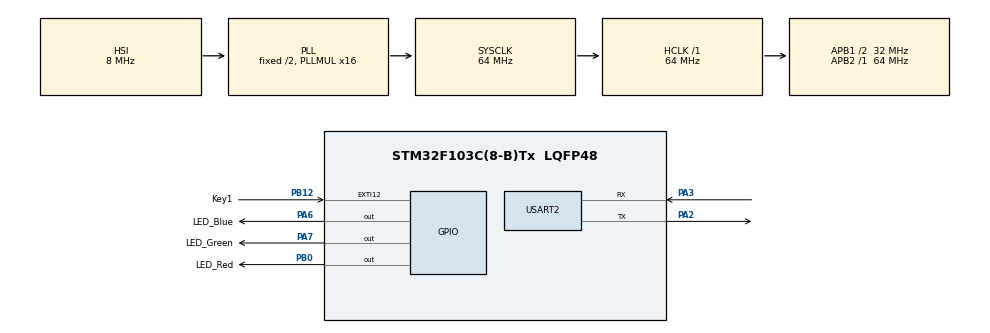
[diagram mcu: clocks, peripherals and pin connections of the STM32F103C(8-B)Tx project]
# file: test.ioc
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Dma.Request0=USART2_TX
Dma.Request1=USART2_RX
Dma.USART2_RX.1.Direction=DMA_PERIPH_TO_MEMORY
Dma.USART2_RX.1.Instance=DMA1_Channel6
Dma.USART2_RX.1.MemDataAlignment=DMA_MDATAALIGN_BYTE
Dma.USART2_RX.1.MemInc=DMA_MINC_ENABLE
Dma.USART2_RX.1.Mode=DMA_NORMAL
Dma.USART2_RX.1.PeriphDataAlignment=DMA_PDATAALIGN_BYTE
Dma.USART2_RX.1.PeriphInc=DMA_PINC_DISABLE
Dma.USART2_RX.1.Priority=DMA_PRIORITY_LOW
Dma.USART2_TX.0.Direction=DMA_MEMORY_TO_PERIPH
Dma.USART2_TX.0.Instance=DMA1_Channel7
Dma.USART2_TX.0.MemDataAlignment=DMA_MDATAALIGN_BYTE
Dma.USART2_TX.0.MemInc=DMA_MINC_ENABLE
Dma.USART2_TX.0.Mode=DMA_NORMAL
Dma.USART2_TX.0.PeriphDataAlignment=DMA_PDATAALIGN_BYTE
Dma.USART2_TX.0.PeriphInc=DMA_PINC_DISABLE
Dma.USART2_TX.0.Priority=DMA_PRIORITY_LOW
Mcu.Family=STM32F1
Mcu.Name=STM32F103C(8-B)Tx
Mcu.Package=LQFP48
NVIC.DMA1_Channel6_IRQn=true\:0\:0\:false\:false\:true\:false\:true\:true
NVIC.DMA1_Channel7_IRQn=true\:0\:0\:false\:false\:true\:false\:true\:true
NVIC.EXTI15_10_IRQn=true\:0\:0\:true\:false\:true\:true\:true\:true
NVIC.PriorityGroup=NVIC_PRIORITYGROUP_4
NVIC.USART2_IRQn=true\:0\:0\:false\:false\:true\:true\:true\:true
PA13.Mode=Serial_Wire
PA13.Signal=SYS_JTMS-SWDIO
PA14.Mode=Serial_Wire
PA14.Signal=SYS_JTCK-SWCLK
PA2.Mode=Asynchronous
PA2.Signal=USART2_TX
PA3.Mode=Asynchronous
PA3.Signal=USART2_RX
PA6.GPIO_Label=LED_Blue
PA6.Signal=GPIO_Output
PA7.GPIO_Label=LED_Green
PA7.Signal=GPIO_Output
PB0.GPIO_Label=LED_Red
PB0.Signal=GPIO_Output
PB12.GPIO_Label=Key1
PB12.GPIO_ModeDefaultEXTI=GPIO_MODE_IT_FALLING
PB12.Signal=GPXTI12
ProjectManager.HeapSize=0x200
ProjectManager.StackSize=0x400
ProjectManager.TargetToolchain=MDK-ARM V5.32
RCC.AHBFreq_Value=64000000
RCC.APB1CLKDivider=RCC_HCLK_DIV2
RCC.APB1Freq_Value=32000000
RCC.APB1TimFreq_Value=64000000
RCC.APB2Freq_Value=64000000
RCC.APB2TimFreq_Value=64000000
RCC.HCLKFreq_Value=64000000
RCC.PLLMUL=RCC_PLL_MUL16
RCC.SYSCLKFreq_VALUE=64000000
RCC.SYSCLKSource=RCC_SYSCLKSOURCE_PLLCLK
RCC.USBFreq_Value=64000000
USART2.VirtualMode=VM_ASYNC
board=custom

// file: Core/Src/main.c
/* USER CODE BEGIN Header */
/**
  ******************************************************************************
  * @file           : main.c
  * @brief          : Main program body
  ******************************************************************************
  * @attention
  *
  * Copyright (c) 2026 STMicroelectronics.
  * All rights reserved.
  *
  * This software is licensed under terms that can be found in the LICENSE file
  * in the root directory of this software component.
  * If no LICENSE file comes with this software, it is provided AS-IS.
  *
  ******************************************************************************
  */
/* USER CODE END Header */
#include "main.h"
#include "dma.h"
#include "usart.h"
#include "gpio.h"

/* USER CODE BEGIN Includes */
#include <string.h>
/* USER CODE END Includes */

/* USER CODE BEGIN PV */
uint8_t receivedData[80];
extern DMA_HandleTypeDef hdma_usart2_rx;
/* USER CODE END PV */

void SystemClock_Config(void);

/* USER CODE BEGIN 0 */
void HAL_UART_RxCpltCallback(UART_HandleTypeDef *huart)
{
    HAL_UART_Transmit_DMA(&huart2, receivedData, 2);
    GPIO_PinState state = GPIO_PIN_SET;
    if (receivedData[1] == '0')
    {
      state = GPIO_PIN_RESET;
    }
    if (receivedData[0] == 'R')
    {
      HAL_GPIO_WritePin(LED_Red_GPIO_Port, LED_Red_Pin, state);
    }
    else if (receivedData[0] == 'G')
    {
      HAL_GPIO_WritePin(LED_Green_GPIO_Port, LED_Green_Pin, state);
    }
    else if (receivedData[0] == 'B')
    {
      HAL_GPIO_WritePin(LED_Blue_GPIO_Port, LED_Blue_Pin, state);
    }
    HAL_UART_Receive_DMA(&huart2, receivedData, 2);
}

void HAL_UARTEx_RxEventCallback(UART_HandleTypeDef *huart, uint16_t Size)
{
  if(huart == &huart2)
  {
    HAL_UART_Transmit_DMA(&huart2, receivedData, Size);

    HAL_UARTEx_ReceiveToIdle_DMA(&huart2, receivedData, sizeof(receivedData));
    __HAL_DMA_DISABLE_IT(&hdma_usart2_rx,DMA_IT_HT);
  }

}
/* USER CODE END 0 */

int main(void)
{

  /* MCU Configuration--------------------------------------------------------*/

  /* Reset of all peripherals, Initializes the Flash interface and the Systick. */
  HAL_Init();

  /* Configure the system clock */
  SystemClock_Config();

  /* Initialize all configured peripherals */
  MX_GPIO_Init();
  MX_DMA_Init();
  MX_USART2_UART_Init();
  /* USER CODE BEGIN 2 */
  //HAL_UART_Receive_DMA(&huart2, receivedData, 2);
  HAL_UARTEx_ReceiveToIdle_DMA(&huart2, receivedData, sizeof(receivedData));
  __HAL_DMA_DISABLE_IT(&hdma_usart2_rx,DMA_IT_HT);
  /* USER CODE END 2 */

  /* Infinite loop */
  /* USER CODE BEGIN WHILE */
  while (1)
  {
    //HAL_UART_Receive(&huart2, receivedData, 2, HAL_MAX_DELAY);
    //HAL_UART_Transmit(&huart2, receivedData, 2, 100);
    //HAL_UART_Transmit(&huart2, (uint8_t*)message, strlen(message), 100);
    //HAL_Delay(1000);
    /* USER CODE END WHILE */

  }
}

void SystemClock_Config(void)
{
  RCC_OscInitTypeDef RCC_OscInitStruct = {0};
  RCC_ClkInitTypeDef RCC_ClkInitStruct = {0};

  /** Initializes the RCC Oscillators according to the specified parameters
  * in the RCC_OscInitTypeDef structure.
  */
  RCC_OscInitStruct.OscillatorType = RCC_OSCILLATORTYPE_HSI;
  RCC_OscInitStruct.HSIState = RCC_HSI_ON;
  RCC_OscInitStruct.HSICalibrationValue = RCC_HSICALIBRATION_DEFAULT;
  RCC_OscInitStruct.PLL.PLLState = RCC_PLL_ON;
  RCC_OscInitStruct.PLL.PLLSource = RCC_PLLSOURCE_HSI_DIV2;
  RCC_OscInitStruct.PLL.PLLMUL = RCC_PLL_MUL16;
  if (HAL_RCC_OscConfig(&RCC_OscInitStruct) != HAL_OK)
  {
    Error_Handler();
  }

  /** Initializes the CPU, AHB and APB buses clocks
  */
  RCC_ClkInitStruct.ClockType = RCC_CLOCKTYPE_HCLK|RCC_CLOCKTYPE_SYSCLK
                              |RCC_CLOCKTYPE_PCLK1|RCC_CLOCKTYPE_PCLK2;
  RCC_ClkInitStruct.SYSCLKSource = RCC_SYSCLKSOURCE_PLLCLK;
  RCC_ClkInitStruct.AHBCLKDivider = RCC_SYSCLK_DIV1;
  RCC_ClkInitStruct.APB1CLKDivider = RCC_HCLK_DIV2;
  RCC_ClkInitStruct.APB2CLKDivider = RCC_HCLK_DIV1;

  if (HAL_RCC_ClockConfig(&RCC_ClkInitStruct, FLASH_LATENCY_2) != HAL_OK)
  {
    Error_Handler();
  }
}

void Error_Handler(void)
{
  __disable_irq();
  while (1)
  {
  }
}
